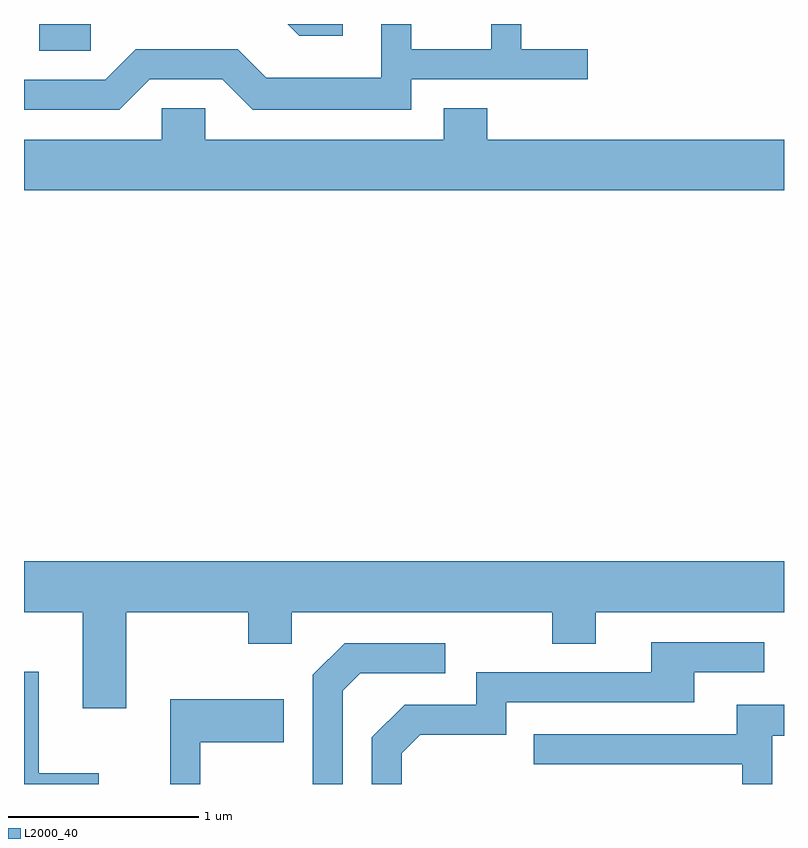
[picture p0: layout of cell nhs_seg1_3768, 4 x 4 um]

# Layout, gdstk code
import gdstk
lib = gdstk.Library(unit=1e-6, precision=1e-09)
def R(c, l, rs):  # rectangles x0, y0, x1, y1
    for r in rs: c.add(gdstk.rectangle(r[:2], r[2:], *l))
def P(c, l, *ps):  # polygons
    for p in ps: c.add(gdstk.Polygon(p, *l))
L2000_40 = (2000, 40)

nhs_seg1_3768 = lib.new_cell('nhs_seg1_3768')
R(nhs_seg1_3768, L2000_40, [(297.691,973.571,297.963,973.712)])
P(nhs_seg1_3768, L2000_40, [(299.288,973.712),(298.998,973.712),(299.059,973.651),(299.288,973.651)],
  [(298.272,973.421),(298.654,973.421),(298.814,973.261),(299.649,973.261),(299.649,973.421),(300.578,973.421),(300.578,973.579),(300.229,973.579),(300.229,973.712),(300.071,973.712),(300.071,973.579),(299.649,973.579),(299.649,973.712),(299.491,973.712),(299.491,973.429),(298.887,973.429),(298.737,973.579),(298.199,973.579),(298.039,973.419),(297.611,973.419),(297.611,973.261),(298.112,973.261)],
  [(301.611,973.104),(300.049,973.104),(300.049,973.269),(299.821,973.269),(299.821,973.104),(298.564,973.104),(298.564,973.269),(298.336,973.269),(298.336,973.104),(297.611,973.104),(297.611,972.836),(301.611,972.836)],
  [(298.149,970.616),(298.791,970.616),(298.791,970.451),(299.019,970.451),(299.019,970.616),(300.391,970.616),(300.391,970.451),(300.619,970.451),(300.619,970.616),(301.611,970.616),(301.611,970.884),(297.611,970.884),(297.611,970.616),(297.921,970.616),(297.921,970.111),(298.149,970.111)],
  [(299.599,969.874),(299.697,969.971),(300.149,969.971),(300.149,970.141),(301.139,970.141),(301.139,970.301),(301.508,970.301),(301.508,970.459),(300.911,970.459),(300.911,970.299),(299.991,970.299),(299.991,970.129),(299.614,970.129),(299.441,969.957),(299.441,969.712),(299.599,969.712)],
  [(299.289,970.204),(299.382,970.296),(299.828,970.296),(299.828,970.454),(299.299,970.454),(299.131,970.287),(299.131,969.712),(299.289,969.712)],
  [(298.004,969.769),(297.689,969.769),(297.689,970.304),(297.611,970.304),(297.611,969.712),(298.004,969.712)],
  [(298.539,969.931),(298.979,969.931),(298.979,970.159),(298.381,970.159),(298.381,969.712),(298.539,969.712)],
  [(301.549,969.966),(301.611,969.966),(301.611,970.129),(301.361,970.129),(301.361,969.974),(300.293,969.974),(300.293,969.816),(301.391,969.816),(301.391,969.712),(301.549,969.712)])

lib.write_gds('nhs_seg1_3768.gds')
